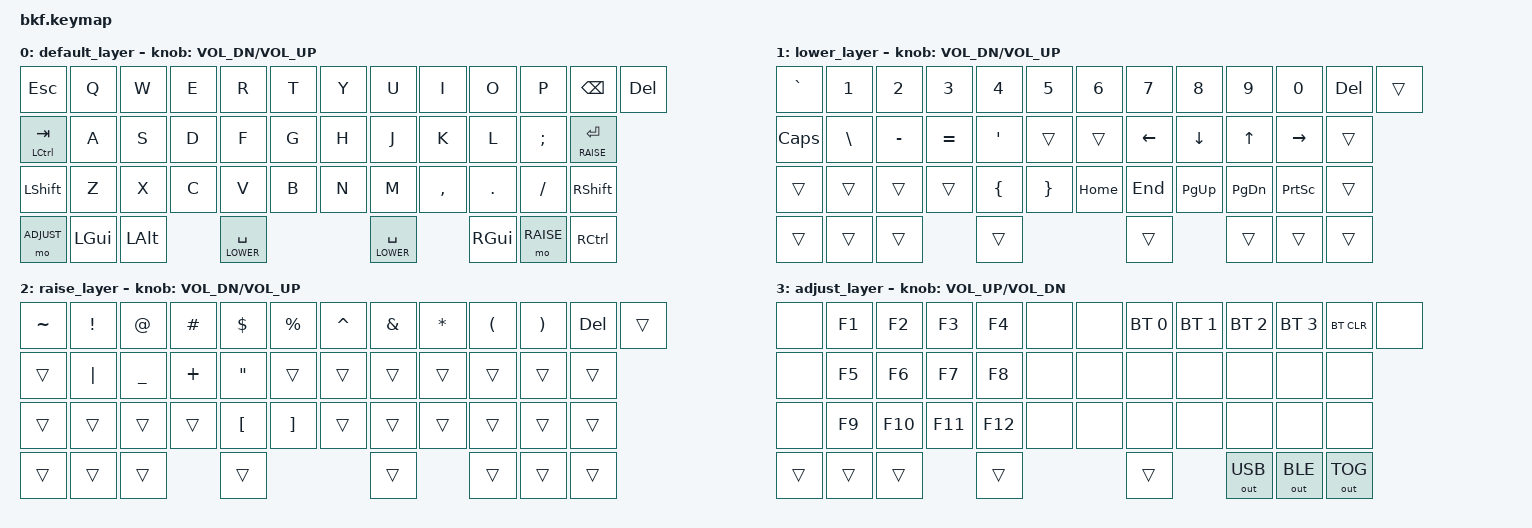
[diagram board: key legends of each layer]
#include <behaviors.dtsi>
#include <dt-bindings/zmk/keys.h>
#include <dt-bindings/zmk/bt.h>
#include <dt-bindings/zmk/outputs.h>

#define BASE    0
#define LOWER   1
#define RAISE   2
#define ADJUST  3

/ {
    keymap {
        compatible = "zmk,keymap";

        default_layer {
// | ESC        | Q | W | E | R | T | Y | U | I | O | P | BSPC | DEL|
// | CTRL/TAB   | A | S | D | F | G | H | J | K | L | : | RETURN    |
// | LSHIFT     | Z | X | C | V | B | N | M | , | . | / | RSHIFT |
// | ADJUST     | LGUI | LALT | LOWER/SPACE | SPACE | RGUI | RAISE | RCTRL |
// etc
//
            bindings = <
    &kp ESC         &kp Q    &kp W   &kp E   &kp R   &kp T   &kp Y   &kp U   &kp I     &kp O     &kp P     &kp BSPC &kp DEL
    &mt LCTRL TAB   &kp A    &kp S   &kp D   &kp F   &kp G   &kp H   &kp J   &kp K     &kp L     &kp SEMI  &lt RAISE RET
    &kp LSHIFT      &kp Z    &kp X   &kp C   &kp V   &kp B   &kp N   &kp M   &kp COMMA &kp DOT   &kp FSLH  &kp RSHFT
    &mo ADJUST      &kp LGUI &kp LALT        &lt LOWER SPACE         &lt LOWER SPACE   &kp RGUI  &mo RAISE &kp RCTRL
            >;

            sensor-bindings = <&inc_dec_kp C_VOL_DN C_VOL_UP>;
        };

        lower_layer {
// ----------------------------------------------------------------------------------
// | `  |  1  |  2  |  3  |  4  |  5  |   |  6  |  7  |  8  |  9  |  0  | DEL |
// |CAPS|     |  \  |  -  |  =  |  '  |   |     | LFT | DWN |  UP | RGT |     |
// |    |     |     |     |  {  | }   |   | HOME| END | PGUP| PGDN| PRSC|     |
// |     |     |    |          |  BACKSPACE  |      |   |   |
            bindings = <
   &kp GRAVE  &kp N1    &kp N2    &kp N3    &kp N4    &kp N5    &kp N6    &kp N7    &kp N8    &kp N9    &kp N0    &kp DEL &trans
   &kp CLCK   &kp BSLH  &kp MINUS &kp EQUAL &kp SQT   &trans    &trans    &kp LEFT  &kp DOWN  &kp UP    &kp RIGHT &trans
   &trans     &trans    &trans    &trans    &kp LBRC  &kp RBRC  &kp HOME  &kp END   &kp PG_UP &kp PG_DN &kp PSCRN &trans
   &trans     &trans    &trans              &trans                        &trans              &trans    &trans    &trans
                        >;

                        sensor-bindings = <&inc_dec_kp C_VOL_DN C_VOL_UP>;
        };

        raise_layer {
// -----------------------------------------------------------------------------------------
// | ~  |  !  |  @  |  #  |  $  |  %  |   |  ^  |  &  |  *  |  (  |  )  |    DEL    |
// |    |     |  |  |  _  |  +  |  "  |   |     |     |     |     |     |     |
// |    |     |     |     |  [  |  ]  |   |     |     |     |     |     |     |
// |     |     |    |          |          |     |   |   |
            bindings = <
   &kp TILDE &kp EXCL  &kp AT     &kp HASH  &kp DLLR &kp PRCNT  &kp CARET &kp AMPS  &kp ASTRK &kp LPAR  &kp RPAR  &kp DEL &trans
   &trans    &kp PIPE  &kp UNDER  &kp PLUS  &kp DQT  &trans     &trans    &trans    &trans    &trans    &trans    &trans
   &trans    &trans    &trans     &trans    &kp LBKT &kp RBKT   &trans    &trans    &trans    &trans    &trans    &trans
   &trans    &trans    &trans               &trans                        &trans              &trans    &trans    &trans
                        >;

                        sensor-bindings = <&inc_dec_kp C_VOL_DN C_VOL_UP>;
        };

        adjust_layer {
// -----------------------------------------------------------------------------------------
// |    |   |   |   |   |   |   |   |   |   |   |   |   |
// |    |   |   |   |   |   |   |   |   |   |   |       |
// |    |   |   |   |   |   |   |   |   |   |   |       |
// |     |     |    |          |          |     |   |   |

            bindings = <
   &none  &kp F1    &kp F2    &kp F3    &kp F4  &none &none &bt BT_SEL 0 &bt BT_SEL 1 &bt BT_SEL 2 &bt BT_SEL 3 &bt BT_CLR &none 
   &none  &kp F5    &kp F6    &kp F7    &kp F8  &none &none &none        &none        &none        &none        &none 
   &none  &kp F9    &kp F10   &kp F11   &kp F12 &none &none &none        &none        &none        &none        &none 
   &trans &trans    &trans              &trans              &trans                    &out OUT_USB &out OUT_BLE &out OUT_TOG 
                        >;

                        sensor-bindings = <&inc_dec_kp C_VOL_UP C_VOL_DN>;

        };

    };
};
